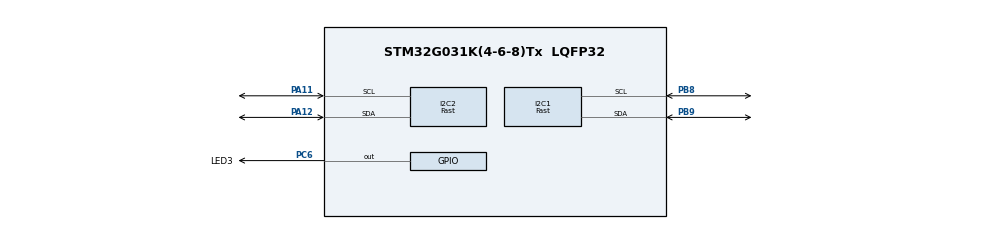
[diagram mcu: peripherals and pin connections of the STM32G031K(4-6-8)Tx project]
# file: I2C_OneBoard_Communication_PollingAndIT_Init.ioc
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I2C1.AddressingMode=I2C_ADDRESSINGMODE_7BIT
I2C1.Analog_Filter=I2C_ANALOGFILTER_DISABLE
I2C1.CustomTiming=Enabled
I2C1.DualAddressMode=I2C_DUALADDRESS_DISABLE
I2C1.GeneralCallMode=I2C_GENERALCALL_DISABLE
I2C1.I2C_Speed_Mode=I2C_Fast
I2C1.NoStretchMode=I2C_NOSTRETCH_DISABLE
I2C1.OwnAddress=0x2D
I2C1.Speed=400
I2C1.Timing=0x00F02B86
I2C2.AddressingMode=I2C_ADDRESSINGMODE_7BIT
I2C2.Analog_Filter=I2C_ANALOGFILTER_ENABLE
I2C2.CustomTiming=Enabled
I2C2.DualAddressMode=I2C_DUALADDRESS_DISABLE
I2C2.GeneralCallMode=I2C_GENERALCALL_DISABLE
I2C2.I2C_Speed_Mode=I2C_Fast
I2C2.NoStretchMode=I2C_NOSTRETCH_DISABLE
I2C2.OwnAddress=0
I2C2.Speed=400
I2C2.Timing=0x00F02B86
Mcu.Family=STM32G0
Mcu.Name=STM32G031K(4-6-8)Tx
Mcu.Package=LQFP32
NVIC.I2C1_IRQn=true\:0\:0\:false\:false\:true\:true\:true\:true
PA11\ [PA9].GPIO_Pu=GPIO_PULLUP
PA11\ [PA9].GPIO_Speed=GPIO_SPEED_FREQ_HIGH
PA11\ [PA9].Mode=I2C
PA11\ [PA9].Signal=I2C2_SCL
PA12\ [PA10].GPIO_Pu=GPIO_PULLUP
PA12\ [PA10].GPIO_Speed=GPIO_SPEED_FREQ_HIGH
PA12\ [PA10].Mode=I2C
PA12\ [PA10].Signal=I2C2_SDA
PB8.GPIO_Pu=GPIO_PULLUP
PB8.GPIO_Speed=GPIO_SPEED_FREQ_HIGH
PB8.Mode=I2C
PB8.Signal=I2C1_SCL
PB9.GPIO_Pu=GPIO_PULLUP
PB9.GPIO_Speed=GPIO_SPEED_FREQ_HIGH
PB9.Mode=I2C
PB9.Signal=I2C1_SDA
PC6.GPIO_Label=LED3
PC6.Signal=GPIO_Output
ProjectManager.HeapSize=0x200
ProjectManager.StackSize=0x400
ProjectManager.TargetToolchain=EWARM V8.50
RCC.ADCFreq_Value=64000000
RCC.AHBFreq_Value=64000000
RCC.CortexFreq_Value=64000000
RCC.EXTERNAL_CLOCK_VALUE=48000000
RCC.HCLKFreq_Value=64000000
RCC.HSE_VALUE=8000000
RCC.HSI_VALUE=16000000
RCC.LSE_VALUE=32768
RCC.SYSCLKFreq_VALUE=64000000
RCC.SYSCLKSource=RCC_SYSCLKSOURCE_PLLCLK
RCC.VCOOutputFreq_Value=128000000
board=custom

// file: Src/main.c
/* USER CODE BEGIN Header */
/**
  ******************************************************************************
  * @file    Examples_LL/I2C/I2C_OneBoard_Communication_PollingAndIT_Init/Src/main.c
  * @author  MCD Application Team
  * @brief   This example describes how to send/receive bytes over I2C IP using
  *          the STM32G0xx I2C LL API.
  *          Peripheral initialization done using LL unitary services functions.
  ******************************************************************************
  * @attention
  *
  * Copyright (c) 2019-2020 STMicroelectronics.
  * All rights reserved.
  *
  * This software is licensed under terms that can be found in the LICENSE file
  * in the root directory of this software component.
  * If no LICENSE file comes with this software, it is provided AS-IS.
  *
  ******************************************************************************
  */
/* USER CODE END Header */
#include "main.h"

/* USER CODE BEGIN PD */

/**
  * @brief Timeout value
  */
#if (USE_TIMEOUT == 1)
#define I2C_SEND_TIMEOUT_TXIS_MS       5
#define I2C_SEND_TIMEOUT_SB_MS        5
#define I2C_SEND_TIMEOUT_ADDR_MS      5
#endif /* USE_TIMEOUT */

/* USER CODE END PD */

/* USER CODE BEGIN PV */

#if (USE_TIMEOUT == 1)
uint32_t Timeout = 0; /* Variable used for Timeout management */
#endif /* USE_TIMEOUT */
__IO uint8_t ubButtonPress = 0;
const uint8_t aLedOn[]           = "LED ON";

/**
  * @brief Variables related to SlaveReceive process
  */
uint8_t      aReceiveBuffer[0xF] = {0};
__IO uint8_t ubReceiveIndex      = 0;

/**
  * @brief Variables related to MasterTransmit process
  */
__IO uint8_t  ubNbDataToTransmit = sizeof(aLedOn);
uint8_t      *pTransmitBuffer    = (uint8_t *)aLedOn;

/* USER CODE END PV */

void SystemClock_Config(void);
static void MX_GPIO_Init(void);
static void MX_I2C1_Init(void);
static void MX_I2C2_Init(void);
/* USER CODE BEGIN PFP */
void     Configure_EXTI(void);
uint8_t  Buffercmp8(uint8_t *pBuffer1, uint8_t *pBuffer2, uint8_t BufferLength);
void     LED_On(void);
void     LED_Off(void);
void     LED_Blinking(uint32_t Period);
void     WaitForUserButtonPress(void);
void     Handle_I2C_Master(void);
/* USER CODE END PFP */

int main(void)
{

  /* MCU Configuration--------------------------------------------------------*/

  /* Reset of all peripherals, Initializes the Flash interface and the Systick. */
  LL_APB2_GRP1_EnableClock(LL_APB2_GRP1_PERIPH_SYSCFG);
  LL_APB1_GRP1_EnableClock(LL_APB1_GRP1_PERIPH_PWR);

  /* Configure the system clock */
  SystemClock_Config();

  /* Initialize all configured peripherals */
  MX_GPIO_Init();
  MX_I2C1_Init();
  MX_I2C2_Init();
  /* USER CODE BEGIN 2 */
  /* Configure the EXTI Line on User Button */
  Configure_EXTI();

  /* Set LED3 Off */
  LED_Off();

  /* Wait for put and remove a jumper between PA.15 (Arduino D2) and GND to start transfer */
  WaitForUserButtonPress();

  /* Handle I2C2 events (Master) */
  Handle_I2C_Master();

  /* USER CODE END 2 */

  /* Infinite loop */
  while (1)
  {

  }
}

void SystemClock_Config(void)
{
  LL_FLASH_SetLatency(LL_FLASH_LATENCY_2);
  while(LL_FLASH_GetLatency() != LL_FLASH_LATENCY_2)
  {
  }

  /* HSI configuration and activation */
  LL_RCC_HSI_Enable();
  while(LL_RCC_HSI_IsReady() != 1)
  {
  }

  /* Main PLL configuration and activation */
  LL_RCC_PLL_ConfigDomain_SYS(LL_RCC_PLLSOURCE_HSI, LL_RCC_PLLM_DIV_1, 8, LL_RCC_PLLR_DIV_2);
  LL_RCC_PLL_Enable();
  LL_RCC_PLL_EnableDomain_SYS();
  while(LL_RCC_PLL_IsReady() != 1)
  {
  }

  /* Set AHB prescaler*/
  LL_RCC_SetAHBPrescaler(LL_RCC_SYSCLK_DIV_1);

  /* Sysclk activation on the main PLL */
  LL_RCC_SetSysClkSource(LL_RCC_SYS_CLKSOURCE_PLL);
  while(LL_RCC_GetSysClkSource() != LL_RCC_SYS_CLKSOURCE_STATUS_PLL)
  {
  }

  /* Set APB1 prescaler*/
  LL_RCC_SetAPB1Prescaler(LL_RCC_APB1_DIV_1);

  LL_Init1msTick(64000000);

  /* Update CMSIS variable (which can be updated also through SystemCoreClockUpdate function) */
  LL_SetSystemCoreClock(64000000);
}

static void MX_I2C1_Init(void)
{

  LL_I2C_InitTypeDef I2C_InitStruct = {0};

  LL_GPIO_InitTypeDef GPIO_InitStruct = {0};

  LL_RCC_SetI2CClockSource(LL_RCC_I2C1_CLKSOURCE_PCLK1);

  LL_IOP_GRP1_EnableClock(LL_IOP_GRP1_PERIPH_GPIOB);
  /**I2C1 GPIO Configuration
  PB9   ------> I2C1_SDA
  PB8   ------> I2C1_SCL
  */
  GPIO_InitStruct.Pin = LL_GPIO_PIN_9;
  GPIO_InitStruct.Mode = LL_GPIO_MODE_ALTERNATE;
  GPIO_InitStruct.Speed = LL_GPIO_SPEED_FREQ_HIGH;
  GPIO_InitStruct.OutputType = LL_GPIO_OUTPUT_OPENDRAIN;
  GPIO_InitStruct.Pull = LL_GPIO_PULL_UP;
  GPIO_InitStruct.Alternate = LL_GPIO_AF_6;
  LL_GPIO_Init(GPIOB, &GPIO_InitStruct);

  GPIO_InitStruct.Pin = LL_GPIO_PIN_8;
  GPIO_InitStruct.Mode = LL_GPIO_MODE_ALTERNATE;
  GPIO_InitStruct.Speed = LL_GPIO_SPEED_FREQ_HIGH;
  GPIO_InitStruct.OutputType = LL_GPIO_OUTPUT_OPENDRAIN;
  GPIO_InitStruct.Pull = LL_GPIO_PULL_UP;
  GPIO_InitStruct.Alternate = LL_GPIO_AF_6;
  LL_GPIO_Init(GPIOB, &GPIO_InitStruct);

  /* Peripheral clock enable */
  LL_APB1_GRP1_EnableClock(LL_APB1_GRP1_PERIPH_I2C1);

  /* I2C1 interrupt Init */
  NVIC_SetPriority(I2C1_IRQn, 0);
  NVIC_EnableIRQ(I2C1_IRQn);

  /** I2C Initialization
  */
  I2C_InitStruct.PeripheralMode = LL_I2C_MODE_I2C;
  I2C_InitStruct.Timing = 0x00F02B86;
  I2C_InitStruct.AnalogFilter = LL_I2C_ANALOGFILTER_DISABLE;
  I2C_InitStruct.DigitalFilter = 0;
  I2C_InitStruct.OwnAddress1 = 90;
  I2C_InitStruct.TypeAcknowledge = LL_I2C_ACK;
  I2C_InitStruct.OwnAddrSize = LL_I2C_OWNADDRESS1_7BIT;
  LL_I2C_Init(I2C1, &I2C_InitStruct);
  LL_I2C_EnableAutoEndMode(I2C1);
  LL_I2C_SetOwnAddress2(I2C1, 0, LL_I2C_OWNADDRESS2_NOMASK);
  LL_I2C_DisableOwnAddress2(I2C1);
  LL_I2C_DisableGeneralCall(I2C1);
  LL_I2C_EnableClockStretching(I2C1);
  /* USER CODE BEGIN I2C1_Init 2 */

  /* Enable I2C1 address match/error interrupts:
  *  - Enable Address Match Interrupt
  *  - Enable Not acknowledge received interrupt
  *  - Enable Error interrupts
  *  - Enable Stop interrupt
  */
  LL_I2C_EnableIT_ADDR(I2C1);
  LL_I2C_EnableIT_NACK(I2C1);
  LL_I2C_EnableIT_ERR(I2C1);
  LL_I2C_EnableIT_STOP(I2C1);
  /* USER CODE END I2C1_Init 2 */

}

static void MX_I2C2_Init(void)
{

  LL_I2C_InitTypeDef I2C_InitStruct = {0};

  LL_GPIO_InitTypeDef GPIO_InitStruct = {0};

  LL_IOP_GRP1_EnableClock(LL_IOP_GRP1_PERIPH_GPIOA);
  /**I2C2 GPIO Configuration
  PA11 [PA9]   ------> I2C2_SCL
  PA12 [PA10]   ------> I2C2_SDA
  */
  GPIO_InitStruct.Pin = LL_GPIO_PIN_11;
  GPIO_InitStruct.Mode = LL_GPIO_MODE_ALTERNATE;
  GPIO_InitStruct.Speed = LL_GPIO_SPEED_FREQ_HIGH;
  GPIO_InitStruct.OutputType = LL_GPIO_OUTPUT_OPENDRAIN;
  GPIO_InitStruct.Pull = LL_GPIO_PULL_UP;
  GPIO_InitStruct.Alternate = LL_GPIO_AF_6;
  LL_GPIO_Init(GPIOA, &GPIO_InitStruct);

  GPIO_InitStruct.Pin = LL_GPIO_PIN_12;
  GPIO_InitStruct.Mode = LL_GPIO_MODE_ALTERNATE;
  GPIO_InitStruct.Speed = LL_GPIO_SPEED_FREQ_HIGH;
  GPIO_InitStruct.OutputType = LL_GPIO_OUTPUT_OPENDRAIN;
  GPIO_InitStruct.Pull = LL_GPIO_PULL_UP;
  GPIO_InitStruct.Alternate = LL_GPIO_AF_6;
  LL_GPIO_Init(GPIOA, &GPIO_InitStruct);

  /* Peripheral clock enable */
  LL_APB1_GRP1_EnableClock(LL_APB1_GRP1_PERIPH_I2C2);

  /** I2C Initialization
  */
  I2C_InitStruct.PeripheralMode = LL_I2C_MODE_I2C;
  I2C_InitStruct.Timing = 0x00F02B86;
  I2C_InitStruct.AnalogFilter = LL_I2C_ANALOGFILTER_ENABLE;
  I2C_InitStruct.DigitalFilter = 0;
  I2C_InitStruct.OwnAddress1 = 0;
  I2C_InitStruct.TypeAcknowledge = LL_I2C_ACK;
  I2C_InitStruct.OwnAddrSize = LL_I2C_OWNADDRESS1_7BIT;
  LL_I2C_Init(I2C2, &I2C_InitStruct);
  LL_I2C_EnableAutoEndMode(I2C2);
  LL_I2C_SetOwnAddress2(I2C2, 0, LL_I2C_OWNADDRESS2_NOMASK);
  LL_I2C_DisableOwnAddress2(I2C2);
  LL_I2C_DisableGeneralCall(I2C2);
  LL_I2C_EnableClockStretching(I2C2);

}

static void MX_GPIO_Init(void)
{
  LL_GPIO_InitTypeDef GPIO_InitStruct = {0};

  /* GPIO Ports Clock Enable */
  LL_IOP_GRP1_EnableClock(LL_IOP_GRP1_PERIPH_GPIOB);
  LL_IOP_GRP1_EnableClock(LL_IOP_GRP1_PERIPH_GPIOC);
  LL_IOP_GRP1_EnableClock(LL_IOP_GRP1_PERIPH_GPIOA);

  /**/
  LL_GPIO_ResetOutputPin(LED3_GPIO_Port, LED3_Pin);

  /**/
  GPIO_InitStruct.Pin = LED3_Pin;
  GPIO_InitStruct.Mode = LL_GPIO_MODE_OUTPUT;
  GPIO_InitStruct.Speed = LL_GPIO_SPEED_FREQ_LOW;
  GPIO_InitStruct.OutputType = LL_GPIO_OUTPUT_PUSHPULL;
  GPIO_InitStruct.Pull = LL_GPIO_PULL_NO;
  LL_GPIO_Init(LED3_GPIO_Port, &GPIO_InitStruct);

}

/* USER CODE BEGIN 4 */
/**
  * @brief  This function configures EXTI Line as Button
  * @note   Peripheral configuration is minimal configuration from reset values.
  * @param  None
  * @retval None
  */
void Configure_EXTI()
{
  /* -1- GPIO Config */
  /* Enable GPIO Clock (to be able to program the configuration registers) */
  VIRTUAL_BUTTON_GPIO_CLK_ENABLE();
  /* Configure IO */
  LL_GPIO_SetPinMode(VIRTUAL_BUTTON_GPIO_PORT, VIRTUAL_BUTTON_PIN, LL_GPIO_MODE_INPUT);
  LL_GPIO_SetPinPull(VIRTUAL_BUTTON_GPIO_PORT, VIRTUAL_BUTTON_PIN, LL_GPIO_PULL_UP);

  /* -2- Connect External Line to the GPIO*/
  VIRTUAL_BUTTON_SYSCFG_SET_EXTI();

  /*-3- Enable a falling trigger External line 15 Interrupt */
  VIRTUAL_BUTTON_EXTI_LINE_ENABLE();
  VIRTUAL_BUTTON_EXTI_RISING_TRIG_ENABLE();

  /*-4- Configure NVIC for EXTI4_15_IRQn */
  NVIC_EnableIRQ(VIRTUAL_BUTTON_EXTI_IRQn);
  NVIC_SetPriority(VIRTUAL_BUTTON_EXTI_IRQn,0);
}

/**
  * @brief  Compares two 8-bit buffers and returns the comparison result.
  * @param  pBuffer1: pointer to the source buffer to be compared to.
  * @param  pBuffer2: pointer to the second source buffer to be compared to the first.
  * @param  BufferLength: buffer's length.
  * @retval 0: Comparison is OK (the two Buffers are identical)
  *         Value different from 0: Comparison is NOK (Buffers are different)
  */
uint8_t Buffercmp8(uint8_t *pBuffer1, uint8_t *pBuffer2, uint8_t BufferLength)
{
  while (BufferLength--)
  {
    if (*pBuffer1 != *pBuffer2)
    {
      return 1;
    }

    pBuffer1++;
    pBuffer2++;
  }

  return 0;
}

/**
  * @brief  Turn-on LED3.
  * @param  None
  * @retval None
  */
void LED_On(void)
{
  /* Turn LED3 on */
  LL_GPIO_SetOutputPin(LED3_GPIO_Port, LED3_Pin);
}

/**
  * @brief  Turn-off LED3.
  * @param  None
  * @retval None
  */
void LED_Off(void)
{
  /* Turn LED3 off */
  LL_GPIO_ResetOutputPin(LED3_GPIO_Port, LED3_Pin);
}

/**
  * @brief  Set LED3 to Blinking mode for an infinite loop (toggle period based on value provided as input parameter).
  * @param  Period : Period of time (in ms) between each toggling of LED
  *   This parameter can be user defined values. Pre-defined values used in that example are :
  *     @arg LED_BLINK_FAST : Fast Blinking
  *     @arg LED_BLINK_SLOW : Slow Blinking
  *     @arg LED_BLINK_ERROR : Error specific Blinking
  * @retval None
  */
void LED_Blinking(uint32_t Period)
{
  /* Turn LED3 on */
  LL_GPIO_SetOutputPin(LED3_GPIO_Port, LED3_Pin);

  /* Toggle IO in an infinite loop */
  while (1)
  {
    LL_GPIO_TogglePin(LED3_GPIO_Port, LED3_Pin);
    LL_mDelay(Period);
  }
}

/**
  * @brief  Wait for put and remove a jumper between PA.15 (Arduino D2) and GND to start transfer.
  * @param  None
  * @retval None
  */
/*  */
void WaitForUserButtonPress(void)
{
  while (ubButtonPress == 0)
  {
    LL_GPIO_TogglePin(LED3_GPIO_Port, LED3_Pin);
    LL_mDelay(LED_BLINK_FAST);
  }
  /* Turn LED3 off */
  LL_GPIO_ResetOutputPin(LED3_GPIO_Port, LED3_Pin);
}

/**
  * @brief  This Function handle Master events to perform a transmission process
  * @note  This function is composed in different steps :
  *        -1- Initiate a Start condition to the Slave device
  *        -2- Loop until end of transfer received (STOP flag raised)
  *             -2.1- Transmit data (TXIS flag raised)
  *        -3- Clear pending flags, Data consistency are checking into Slave process
  * @param  None
  * @retval None
  */
void Handle_I2C_Master(void)
{
  /* (1) Initiate a Start condition to the Slave device ***********************/

  /* Master Generate Start condition for a write request :              */
  /*    - to the Slave with a 7-Bit SLAVE_OWN_ADDRESS                   */
  /*    - with a auto stop condition generation when transmit all bytes */
  LL_I2C_HandleTransfer(I2C2, SLAVE_OWN_ADDRESS, LL_I2C_ADDRSLAVE_7BIT, ubNbDataToTransmit, LL_I2C_MODE_AUTOEND, LL_I2C_GENERATE_START_WRITE);

  /* (2) Loop until end of transfer received (STOP flag raised) ***************/

#if (USE_TIMEOUT == 1)
  Timeout = I2C_SEND_TIMEOUT_TXIS_MS;
#endif /* USE_TIMEOUT */

  /* Loop until STOP flag is raised  */
  while (!LL_I2C_IsActiveFlag_STOP(I2C2))
  {
    /* (2.1) Transmit data (TXIS flag raised) *********************************/

    /* Check TXIS flag value in ISR register */
    if (LL_I2C_IsActiveFlag_TXIS(I2C2))
    {
      /* Write data in Transmit Data register.
      TXIS flag is cleared by writing data in TXDR register */
      LL_I2C_TransmitData8(I2C2, (*pTransmitBuffer++));

#if (USE_TIMEOUT == 1)
      Timeout = I2C_SEND_TIMEOUT_TXIS_MS;
#endif /* USE_TIMEOUT */
    }

#if (USE_TIMEOUT == 1)
    /* Check Systick counter flag to decrement the time-out value */
    if (LL_SYSTICK_IsActiveCounterFlag())
    {
      if (Timeout-- == 0)
      {
        /* Time-out occurred. Set LED3 to blinking mode */
        LED_Blinking(LED_BLINK_SLOW);
      }
    }
#endif /* USE_TIMEOUT */
  }

  /* (3) Clear pending flags, Data consistency are checking into Slave process */

  /* End of I2C_SlaveReceiver_MasterTransmitter Process */
  LL_I2C_ClearFlag_STOP(I2C2);
}

/******************************************************************************/
/*   IRQ HANDLER TREATMENT Functions                                          */
/******************************************************************************/
/**
  * @brief  Function to manage PA.15 (Arduino D2)
  * @param  None
  * @retval None
  */
void UserButton_Callback(void)
{
  /* Update PA.15 (Arduino D2) variable : to be checked in waiting loop in main program */
  ubButtonPress = 1;
}

/**
  * @brief  Function called from I2C IRQ Handler when RXNE flag is set
  *         Function is in charge of retrieving received byte on I2C lines.
  * @param  None
  * @retval None
  */
void Slave_Reception_Callback(void)
{
  /* Read character in Receive Data register.
  RXNE flag is cleared by reading data in RXDR register */
  aReceiveBuffer[ubReceiveIndex++] = LL_I2C_ReceiveData8(I2C1);
}

/**
  * @brief  Function called from I2C IRQ Handler when STOP flag is set
  *         Function is in charge of checking data received,
  *         LED3 is On if data are correct.
  * @param  None
  * @retval None
  */
void Slave_Complete_Callback(void)
{
  /* Check if data request to turn on the LED3 */
  if (Buffercmp8((uint8_t *)aReceiveBuffer, (uint8_t *)aLedOn, (ubReceiveIndex - 1)) == 0)
  {
    /* Turn LED3 On */
    /* Expected bytes have been received */
    /* Slave Rx sequence completed successfully*/
    LED_On();
  }
  else
  {
    /* Call Error function */
    Error_Callback();
  }
}

/**
  * @brief  Function called in case of error detected in I2C IT Handler
  * @param  None
  * @retval None
  */
void Error_Callback(void)
{
  /* Disable I2C1_IRQn */
  NVIC_DisableIRQ(I2C1_IRQn);

  /* Unexpected event : Set LED3 to Blinking mode to indicate error occurs */
  LED_Blinking(LED_BLINK_ERROR);
}

/* USER CODE END 4 */

void Error_Handler(void)
{
}
